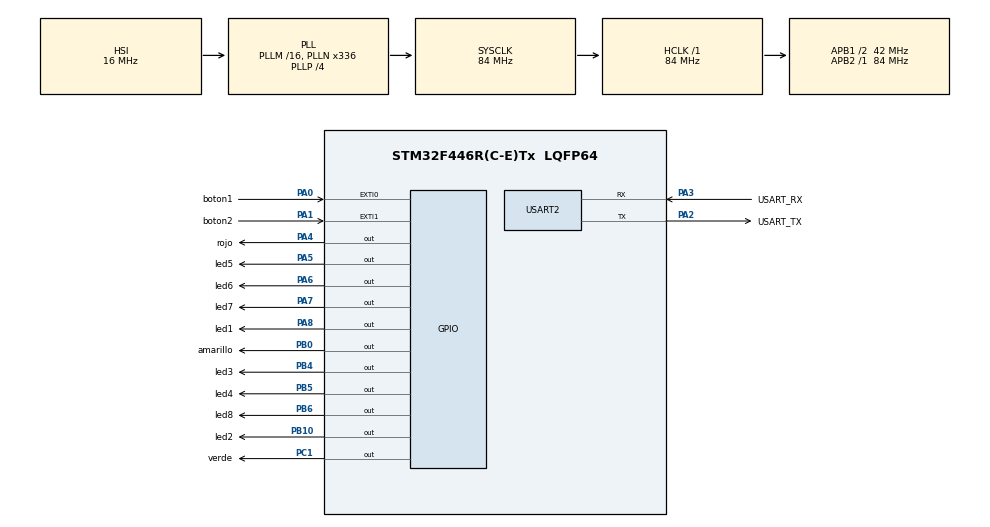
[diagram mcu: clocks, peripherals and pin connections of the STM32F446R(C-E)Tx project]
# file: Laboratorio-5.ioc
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Mcu.Family=STM32F4
Mcu.Name=STM32F446R(C-E)Tx
Mcu.Package=LQFP64
NVIC.EXTI0_IRQn=true\:0\:0\:false\:false\:true\:true\:true\:true
NVIC.EXTI1_IRQn=true\:0\:0\:false\:false\:true\:true\:true\:true
NVIC.PriorityGroup=NVIC_PRIORITYGROUP_0
PA0-WKUP.GPIO_Label=boton1
PA0-WKUP.Signal=GPXTI0
PA1.GPIO_Label=boton2
PA1.Signal=GPXTI1
PA13.GPIO_Label=TMS
PA13.Signal=SYS_JTMS-SWDIO
PA14.GPIO_Label=TCK
PA14.Signal=SYS_JTCK-SWCLK
PA2.GPIO_Label=USART_TX
PA2.Mode=Asynchronous
PA2.Signal=USART2_TX
PA3.GPIO_Label=USART_RX
PA3.Mode=Asynchronous
PA3.Signal=USART2_RX
PA4.GPIO_Label=rojo
PA4.Signal=GPIO_Output
PA5.GPIO_Label=led5
PA5.Signal=GPIO_Output
PA6.GPIO_Label=led6
PA6.Signal=GPIO_Output
PA7.GPIO_Label=led7
PA7.Signal=GPIO_Output
PA8.GPIO_Label=led1
PA8.Signal=GPIO_Output
PB0.GPIO_Label=amarillo
PB0.Signal=GPIO_Output
PB10.GPIO_Label=led2
PB10.Signal=GPIO_Output
PB3.GPIO_Label=SWO
PB3.Signal=SYS_JTDO-SWO
PB4.GPIO_Label=led3
PB4.Signal=GPIO_Output
PB5.GPIO_Label=led4
PB5.Signal=GPIO_Output
PB6.GPIO_Label=led8
PB6.Signal=GPIO_Output
PC1.GPIO_Label=verde
PC1.Signal=GPIO_Output
PC14-OSC32_IN.Signal=RCC_OSC32_IN
PC15-OSC32_OUT.Signal=RCC_OSC32_OUT
PH0-OSC_IN.Signal=RCC_OSC_IN
PH1-OSC_OUT.Signal=RCC_OSC_OUT
ProjectManager.HeapSize=0x200
ProjectManager.StackSize=0x400
ProjectManager.TargetToolchain=STM32CubeIDE
RCC.AHBFreq_Value=84000000
RCC.APB1CLKDivider=RCC_HCLK_DIV2
RCC.APB1Freq_Value=42000000
RCC.APB1TimFreq_Value=84000000
RCC.APB2Freq_Value=84000000
RCC.APB2TimFreq_Value=84000000
RCC.CortexFreq_Value=84000000
RCC.FLatency-AdvancedSettings=FLASH_LATENCY_2
RCC.HCLKFreq_Value=84000000
RCC.HSE_VALUE=8000000
RCC.HSI_VALUE=16000000
RCC.LSE_VALUE=32768
RCC.PLLN=336
RCC.PLLP=RCC_PLLP_DIV4
RCC.SYSCLKFreq_VALUE=84000000
RCC.SYSCLKSource=RCC_SYSCLKSOURCE_PLLCLK
RCC.USBFreq_Value=168000000
RCC.VCOOutputFreq_Value=336000000
USART2.VirtualMode=VM_ASYNC
board=NUCLEO-F446RE

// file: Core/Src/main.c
/* USER CODE BEGIN Header */
/**
  ******************************************************************************
  * @file           : main.c
  * @brief          : Main program body
  ******************************************************************************
  * @attention
  *
  * Copyright (c) 2026 STMicroelectronics.
  * All rights reserved.
  *
  * This software is licensed under terms that can be found in the LICENSE file
  * in the root directory of this software component.
  * If no LICENSE file comes with this software, it is provided AS-IS.
  *
  ******************************************************************************
  */
/* USER CODE END Header */
#include "main.h"

/* USER CODE BEGIN Includes */
#include <stdint.h>
#include <stdio.h>
#include <stdbool.h>

/* USER CODE END Includes */

/* USER CODE BEGIN PTD */
void apagar();

/* USER CODE END PTD */

/* USER CODE BEGIN PD */
#define debounce 300

/* USER CODE END PD */

UART_HandleTypeDef huart2;

/* USER CODE BEGIN PV */
//UART Carrera
uint8_t inicio[1];
uint8_t inicioCarrera=0;

//Jugador1
int contador1=0;
volatile unsigned long ultimo=0;
uint8_t jugador1=0;
volatile bool flag=false;

//Jugador2
int contador2=0;
volatile unsigned long ultimo2=0;
uint8_t jugador2=0;
volatile bool flag2=false;

//Ganadores
uint8_t finalista1[] = "Gana jugador 1!\r\n";
uint8_t finalista2[] = "Gana jugador 2!\r\n";

/* USER CODE END PV */

void SystemClock_Config(void);
static void MX_GPIO_Init(void);
static void MX_USART2_UART_Init(void);

/* USER CODE BEGIN 0 */

void apagar(){
	HAL_GPIO_WritePin(GPIOA, led1_Pin, 0);
	HAL_GPIO_WritePin(GPIOB, led2_Pin, 0);
	HAL_GPIO_WritePin(GPIOB, led3_Pin, 0);
	HAL_GPIO_WritePin(GPIOB, led4_Pin, 0);
	HAL_GPIO_WritePin(GPIOA, led5_Pin, 0);
	HAL_GPIO_WritePin(GPIOA, led6_Pin, 0);
	HAL_GPIO_WritePin(GPIOA, led7_Pin, 0);
	HAL_GPIO_WritePin(GPIOB, led8_Pin, 0);

}

/* USER CODE END 0 */

int main(void)
{

  /* MCU Configuration--------------------------------------------------------*/

  /* Reset of all peripherals, Initializes the Flash interface and the Systick. */
  HAL_Init();

  /* Configure the system clock */
  SystemClock_Config();

  /* Initialize all configured peripherals */
  MX_GPIO_Init();
  MX_USART2_UART_Init();

  /* Infinite loop */
  /* USER CODE BEGIN WHILE */
  while (1)
  {
	  //Inicio de la carrera con "s"
	  if(inicioCarrera==0){
		  contador1=0;
		  contador2=0;

		  HAL_UART_Receive(&huart2, inicio, 1, HAL_MAX_DELAY);

		  if(inicio[0]=='S'){
			  HAL_GPIO_WritePin(GPIOA, rojo_Pin, 1);
			  HAL_GPIO_WritePin(GPIOB, amarillo_Pin, 0);
			  HAL_GPIO_WritePin(verde_GPIO_Port, verde_Pin, 0);

			  HAL_Delay(1000);

			  HAL_GPIO_WritePin(GPIOA, rojo_Pin, 0);
			  HAL_GPIO_WritePin(GPIOB, amarillo_Pin, 1);
			  HAL_GPIO_WritePin(verde_GPIO_Port, verde_Pin, 0);

			  HAL_Delay(1000);

			  HAL_GPIO_WritePin(GPIOA, rojo_Pin, 0);
			  HAL_GPIO_WritePin(GPIOB, amarillo_Pin, 0);
			  HAL_GPIO_WritePin(verde_GPIO_Port, verde_Pin, 1);

			  inicioCarrera=1;
			  flag=false;
			  flag2=false;
			  jugador1=0;
			  jugador2=0;
		  }
	  }

	  if(inicioCarrera==1){
		  apagar();

		  //Jugador1
		  if(flag){
			 flag=false;
			 jugador1=1;
		  }

		  if((!flag)&&(jugador1==1)){
			  jugador1=0;
			  if(contador1<4){
			  contador1++;}
		  }

		  switch(contador1){
				  case 0: HAL_GPIO_WritePin(GPIOA, led1_Pin, 0); HAL_GPIO_WritePin(GPIOB, led2_Pin, 0); HAL_GPIO_WritePin(GPIOB, led3_Pin, 0); HAL_GPIO_WritePin(GPIOB, led4_Pin, 0); break;
				  case 1: HAL_GPIO_WritePin(GPIOA, led1_Pin, 1); HAL_GPIO_WritePin(GPIOB, led2_Pin, 0); HAL_GPIO_WritePin(GPIOB, led3_Pin, 0); HAL_GPIO_WritePin(GPIOB, led4_Pin, 0); break;
				  case 2: HAL_GPIO_WritePin(GPIOA, led1_Pin, 1); HAL_GPIO_WritePin(GPIOB, led2_Pin, 1); HAL_GPIO_WritePin(GPIOB, led3_Pin, 0); HAL_GPIO_WritePin(GPIOB, led4_Pin, 0); break;
				  case 3: HAL_GPIO_WritePin(GPIOA, led1_Pin, 1); HAL_GPIO_WritePin(GPIOB, led2_Pin, 1); HAL_GPIO_WritePin(GPIOB, led3_Pin, 1); HAL_GPIO_WritePin(GPIOB, led4_Pin, 0); break;
				  case 4: HAL_GPIO_WritePin(GPIOA, led1_Pin, 1); HAL_GPIO_WritePin(GPIOB, led2_Pin, 1); HAL_GPIO_WritePin(GPIOB, led3_Pin, 1); HAL_GPIO_WritePin(GPIOB, led4_Pin, 1); break;
				  }

		  //Jugador 2
		  if(flag2){
			  flag2=false;
			  jugador2=1;
		  }

		  if((!flag2)&&(jugador2==1)){
			  jugador2=0;
			  if(contador2<4){
			  contador2++;}
		  }

		  switch(contador2){
		  	case 0: HAL_GPIO_WritePin(GPIOA, led5_Pin, 0); HAL_GPIO_WritePin(GPIOA, led6_Pin, 0); HAL_GPIO_WritePin(GPIOA, led7_Pin, 0); HAL_GPIO_WritePin(GPIOB, led8_Pin, 0); break;
		  	case 1: HAL_GPIO_WritePin(GPIOA, led5_Pin, 1); HAL_GPIO_WritePin(GPIOA, led6_Pin, 0); HAL_GPIO_WritePin(GPIOA, led7_Pin, 0); HAL_GPIO_WritePin(GPIOB, led8_Pin, 0); break;
		  	case 2: HAL_GPIO_WritePin(GPIOA, led5_Pin, 1); HAL_GPIO_WritePin(GPIOA, led6_Pin, 1); HAL_GPIO_WritePin(GPIOA, led7_Pin, 0); HAL_GPIO_WritePin(GPIOB, led8_Pin, 0); break;
		  	case 3: HAL_GPIO_WritePin(GPIOA, led5_Pin, 1); HAL_GPIO_WritePin(GPIOA, led6_Pin, 1); HAL_GPIO_WritePin(GPIOA, led7_Pin, 1); HAL_GPIO_WritePin(GPIOB, led8_Pin, 0); break;
		  	case 4: HAL_GPIO_WritePin(GPIOA, led5_Pin, 1); HAL_GPIO_WritePin(GPIOA, led6_Pin, 1); HAL_GPIO_WritePin(GPIOA, led7_Pin, 1); HAL_GPIO_WritePin(GPIOB, led8_Pin, 1); break;
		  				  }

			if((contador1==4)&&(contador2<4)){
				HAL_UART_Transmit(&huart2, finalista1, sizeof(finalista1), 1000);
				inicioCarrera=0;
				contador1=0;
				contador2=0;
				flag=false;
				flag2=false;
				jugador1=0;
				jugador2=0;

			}
			else if((contador2==4)&&(contador1<4)){
				HAL_UART_Transmit(&huart2, finalista2, sizeof(finalista2), 1000);
				inicioCarrera=0;
				contador1=0;
				contador2=0;
				flag=false;
				flag2=false;
				jugador1=0;
				jugador2=0;

			}

	  }

    /* USER CODE END WHILE */

  }
}

void SystemClock_Config(void)
{
  RCC_OscInitTypeDef RCC_OscInitStruct = {0};
  RCC_ClkInitTypeDef RCC_ClkInitStruct = {0};

  /** Configure the main internal regulator output voltage
  */
  __HAL_RCC_PWR_CLK_ENABLE();
  __HAL_PWR_VOLTAGESCALING_CONFIG(PWR_REGULATOR_VOLTAGE_SCALE3);

  /** Initializes the RCC Oscillators according to the specified parameters
  * in the RCC_OscInitTypeDef structure.
  */
  RCC_OscInitStruct.OscillatorType = RCC_OSCILLATORTYPE_HSI;
  RCC_OscInitStruct.HSIState = RCC_HSI_ON;
  RCC_OscInitStruct.HSICalibrationValue = RCC_HSICALIBRATION_DEFAULT;
  RCC_OscInitStruct.PLL.PLLState = RCC_PLL_ON;
  RCC_OscInitStruct.PLL.PLLSource = RCC_PLLSOURCE_HSI;
  RCC_OscInitStruct.PLL.PLLM = 16;
  RCC_OscInitStruct.PLL.PLLN = 336;
  RCC_OscInitStruct.PLL.PLLP = RCC_PLLP_DIV4;
  RCC_OscInitStruct.PLL.PLLQ = 2;
  RCC_OscInitStruct.PLL.PLLR = 2;
  if (HAL_RCC_OscConfig(&RCC_OscInitStruct) != HAL_OK)
  {
    Error_Handler();
  }

  /** Initializes the CPU, AHB and APB buses clocks
  */
  RCC_ClkInitStruct.ClockType = RCC_CLOCKTYPE_HCLK|RCC_CLOCKTYPE_SYSCLK
                              |RCC_CLOCKTYPE_PCLK1|RCC_CLOCKTYPE_PCLK2;
  RCC_ClkInitStruct.SYSCLKSource = RCC_SYSCLKSOURCE_PLLCLK;
  RCC_ClkInitStruct.AHBCLKDivider = RCC_SYSCLK_DIV1;
  RCC_ClkInitStruct.APB1CLKDivider = RCC_HCLK_DIV2;
  RCC_ClkInitStruct.APB2CLKDivider = RCC_HCLK_DIV1;

  if (HAL_RCC_ClockConfig(&RCC_ClkInitStruct, FLASH_LATENCY_2) != HAL_OK)
  {
    Error_Handler();
  }
}

static void MX_USART2_UART_Init(void)
{

  huart2.Instance = USART2;
  huart2.Init.BaudRate = 115200;
  huart2.Init.WordLength = UART_WORDLENGTH_8B;
  huart2.Init.StopBits = UART_STOPBITS_1;
  huart2.Init.Parity = UART_PARITY_NONE;
  huart2.Init.Mode = UART_MODE_TX_RX;
  huart2.Init.HwFlowCtl = UART_HWCONTROL_NONE;
  huart2.Init.OverSampling = UART_OVERSAMPLING_16;
  if (HAL_UART_Init(&huart2) != HAL_OK)
  {
    Error_Handler();
  }

}

static void MX_GPIO_Init(void)
{
  GPIO_InitTypeDef GPIO_InitStruct = {0};

  /* GPIO Ports Clock Enable */
  __HAL_RCC_GPIOC_CLK_ENABLE();
  __HAL_RCC_GPIOH_CLK_ENABLE();
  __HAL_RCC_GPIOA_CLK_ENABLE();
  __HAL_RCC_GPIOB_CLK_ENABLE();

  /*Configure GPIO pin Output Level */
  HAL_GPIO_WritePin(verde_GPIO_Port, verde_Pin, GPIO_PIN_RESET);

  /*Configure GPIO pin Output Level */
  HAL_GPIO_WritePin(GPIOA, rojo_Pin|led5_Pin|led6_Pin|led7_Pin
                          |led1_Pin, GPIO_PIN_RESET);

  /*Configure GPIO pin Output Level */
  HAL_GPIO_WritePin(GPIOB, amarillo_Pin|led2_Pin|led3_Pin|led4_Pin
                          |led8_Pin, GPIO_PIN_RESET);

  /*Configure GPIO pin : verde_Pin */
  GPIO_InitStruct.Pin = verde_Pin;
  GPIO_InitStruct.Mode = GPIO_MODE_OUTPUT_PP;
  GPIO_InitStruct.Pull = GPIO_NOPULL;
  GPIO_InitStruct.Speed = GPIO_SPEED_FREQ_LOW;
  HAL_GPIO_Init(verde_GPIO_Port, &GPIO_InitStruct);

  /*Configure GPIO pins : boton1_Pin boton2_Pin */
  GPIO_InitStruct.Pin = boton1_Pin|boton2_Pin;
  GPIO_InitStruct.Mode = GPIO_MODE_IT_RISING;
  GPIO_InitStruct.Pull = GPIO_NOPULL;
  HAL_GPIO_Init(GPIOA, &GPIO_InitStruct);

  /*Configure GPIO pins : rojo_Pin led5_Pin led6_Pin led7_Pin
                           led1_Pin */
  GPIO_InitStruct.Pin = rojo_Pin|led5_Pin|led6_Pin|led7_Pin
                          |led1_Pin;
  GPIO_InitStruct.Mode = GPIO_MODE_OUTPUT_PP;
  GPIO_InitStruct.Pull = GPIO_NOPULL;
  GPIO_InitStruct.Speed = GPIO_SPEED_FREQ_LOW;
  HAL_GPIO_Init(GPIOA, &GPIO_InitStruct);

  /*Configure GPIO pins : amarillo_Pin led2_Pin led3_Pin led4_Pin
                           led8_Pin */
  GPIO_InitStruct.Pin = amarillo_Pin|led2_Pin|led3_Pin|led4_Pin
                          |led8_Pin;
  GPIO_InitStruct.Mode = GPIO_MODE_OUTPUT_PP;
  GPIO_InitStruct.Pull = GPIO_NOPULL;
  GPIO_InitStruct.Speed = GPIO_SPEED_FREQ_LOW;
  HAL_GPIO_Init(GPIOB, &GPIO_InitStruct);

  /* EXTI interrupt init*/
  HAL_NVIC_SetPriority(EXTI0_IRQn, 0, 0);
  HAL_NVIC_EnableIRQ(EXTI0_IRQn);

  HAL_NVIC_SetPriority(EXTI1_IRQn, 0, 0);
  HAL_NVIC_EnableIRQ(EXTI1_IRQn);

}

/* USER CODE BEGIN 4 */
void HAL_GPIO_EXTI_Callback(uint16_t GPIO_Pin){

	//Jugador 1
	if(GPIO_Pin == boton1_Pin){
		unsigned long ahora = HAL_GetTick();
		if(ahora - ultimo > debounce){
			flag=true;
			ultimo=ahora;
		}
	}

	//Jugador 2
	if(GPIO_Pin == boton2_Pin){
			unsigned long ahora2 = HAL_GetTick();
			if(ahora2 - ultimo2 > debounce){
				flag2=true;
				ultimo2=ahora2;
			}
		}
}

/* USER CODE END 4 */

void Error_Handler(void)
{
  __disable_irq();
  while (1)
  {
  }
}
